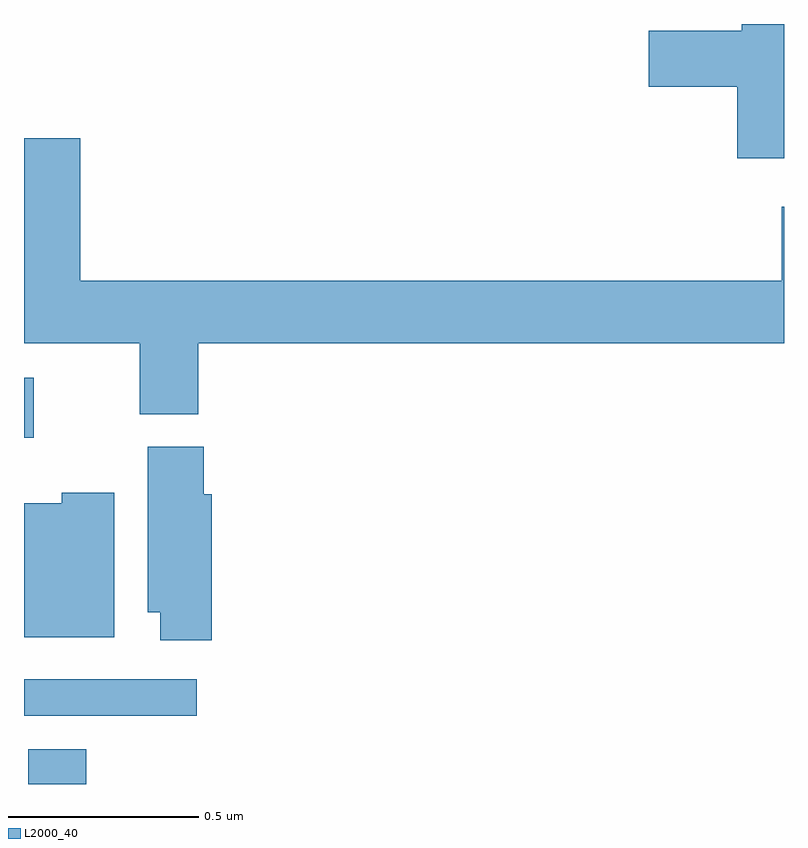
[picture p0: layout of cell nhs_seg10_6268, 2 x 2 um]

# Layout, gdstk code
import gdstk
lib = gdstk.Library(unit=1e-6, precision=1e-09)
def R(c, l, rs):  # rectangles x0, y0, x1, y1
    for r in rs: c.add(gdstk.rectangle(r[:2], r[2:], *l))
def P(c, l, *ps):  # polygons
    for p in ps: c.add(gdstk.Polygon(p, *l))
L2000_40 = (2000, 40)

nhs_seg10_6268 = lib.new_cell('nhs_seg10_6268')
R(nhs_seg10_6268, L2000_40, [(189.011,1288.5,189.164,1288.591), (189,1288.68,189.454,1288.776), (189,1289.411,189.025,1289.569)])
P(nhs_seg10_6268, L2000_40, [(191,1290.5),(190.889,1290.5),(190.889,1290.482),(190.644,1290.482),(190.644,1290.335),(190.877,1290.335),(190.877,1290.147),(191,1290.147)],
  [(189.458,1289.66),(191,1289.66),(191,1290.019),(190.994,1290.019),(190.994,1289.824),(189.148,1289.824),(189.148,1290.199),(189,1290.199),(189,1289.66),(189.305,1289.66),(189.305,1289.473),(189.458,1289.473)],
  [(189.494,1289.262),(189.473,1289.262),(189.473,1289.388),(189.326,1289.388),(189.326,1288.952),(189.359,1288.952),(189.359,1288.878),(189.494,1288.878)],
  [(189.238,1289.266),(189.099,1289.266),(189.099,1289.239),(189,1289.239),(189,1288.886),(189.238,1288.886)])

lib.write_gds('nhs_seg10_6268.gds')
